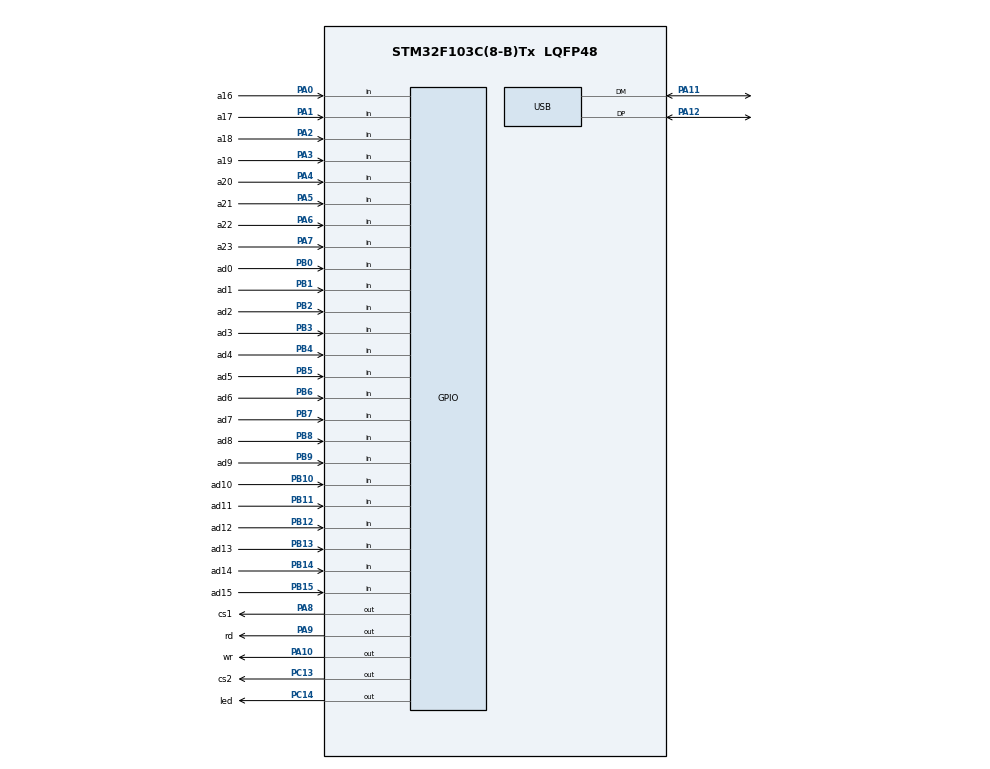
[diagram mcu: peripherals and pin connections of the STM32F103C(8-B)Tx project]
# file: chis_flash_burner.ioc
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Mcu.Family=STM32F1
Mcu.Name=STM32F103C(8-B)Tx
Mcu.Package=LQFP48
NVIC.PriorityGroup=NVIC_PRIORITYGROUP_4
NVIC.USB_LP_CAN1_RX0_IRQn=true\:0\:0\:false\:false\:true\:false\:true\:true
PA0-WKUP.GPIO_Label=a16
PA0-WKUP.GPIO_PuPd=GPIO_PULLUP
PA0-WKUP.Signal=GPIO_Input
PA1.GPIO_Label=a17
PA1.GPIO_PuPd=GPIO_PULLUP
PA1.Signal=GPIO_Input
PA10.GPIO_Label=wr
PA10.GPIO_PuPd=GPIO_PULLUP
PA10.GPIO_Speed=GPIO_SPEED_FREQ_HIGH
PA10.PinState=GPIO_PIN_SET
PA10.Signal=GPIO_Output
PA11.Mode=Device
PA11.Signal=USB_DM
PA12.Mode=Device
PA12.Signal=USB_DP
PA13.Mode=Serial_Wire
PA13.Signal=SYS_JTMS-SWDIO
PA14.Mode=Serial_Wire
PA14.Signal=SYS_JTCK-SWCLK
PA2.GPIO_Label=a18
PA2.GPIO_PuPd=GPIO_PULLUP
PA2.Signal=GPIO_Input
PA3.GPIO_Label=a19
PA3.GPIO_PuPd=GPIO_PULLUP
PA3.Signal=GPIO_Input
PA4.GPIO_Label=a20
PA4.GPIO_PuPd=GPIO_PULLUP
PA4.Signal=GPIO_Input
PA5.GPIO_Label=a21
PA5.GPIO_PuPd=GPIO_PULLUP
PA5.Signal=GPIO_Input
PA6.GPIO_Label=a22
PA6.GPIO_PuPd=GPIO_PULLUP
PA6.Signal=GPIO_Input
PA7.GPIO_Label=a23
PA7.GPIO_PuPd=GPIO_PULLUP
PA7.Signal=GPIO_Input
PA8.GPIO_Label=cs1
PA8.GPIO_ModeDefaultOutputPP=GPIO_MODE_OUTPUT_PP
PA8.GPIO_PuPd=GPIO_PULLUP
PA8.GPIO_Speed=GPIO_SPEED_FREQ_HIGH
PA8.PinState=GPIO_PIN_SET
PA8.Signal=GPIO_Output
PA9.GPIO_Label=rd
PA9.GPIO_PuPd=GPIO_PULLUP
PA9.GPIO_Speed=GPIO_SPEED_FREQ_HIGH
PA9.PinState=GPIO_PIN_SET
PA9.Signal=GPIO_Output
PB0.GPIO_Label=ad0
PB0.GPIO_PuPd=GPIO_PULLUP
PB0.Signal=GPIO_Input
PB1.GPIO_Label=ad1
PB1.GPIO_PuPd=GPIO_PULLUP
PB1.Signal=GPIO_Input
PB10.GPIO_Label=ad10
PB10.GPIO_PuPd=GPIO_PULLUP
PB10.Signal=GPIO_Input
PB11.GPIO_Label=ad11
PB11.GPIO_PuPd=GPIO_PULLUP
PB11.Signal=GPIO_Input
PB12.GPIO_Label=ad12
PB12.GPIO_PuPd=GPIO_PULLUP
PB12.Signal=GPIO_Input
PB13.GPIO_Label=ad13
PB13.GPIO_PuPd=GPIO_PULLUP
PB13.Signal=GPIO_Input
PB14.GPIO_Label=ad14
PB14.GPIO_PuPd=GPIO_PULLUP
PB14.Signal=GPIO_Input
PB15.GPIO_Label=ad15
PB15.GPIO_PuPd=GPIO_PULLUP
PB15.Signal=GPIO_Input
PB2.GPIO_Label=ad2
PB2.GPIO_PuPd=GPIO_PULLUP
PB2.Signal=GPIO_Input
PB3.GPIO_Label=ad3
PB3.GPIO_PuPd=GPIO_PULLUP
PB3.Signal=GPIO_Input
PB4.GPIO_Label=ad4
PB4.GPIO_PuPd=GPIO_PULLUP
PB4.Signal=GPIO_Input
PB5.GPIO_Label=ad5
PB5.GPIO_PuPd=GPIO_PULLUP
PB5.Signal=GPIO_Input
PB6.GPIO_Label=ad6
PB6.GPIO_PuPd=GPIO_PULLUP
PB6.Signal=GPIO_Input
PB7.GPIO_Label=ad7
PB7.GPIO_PuPd=GPIO_PULLUP
PB7.Signal=GPIO_Input
PB8.GPIO_Label=ad8
PB8.GPIO_PuPd=GPIO_PULLUP
PB8.Signal=GPIO_Input
PB9.GPIO_Label=ad9
PB9.GPIO_PuPd=GPIO_PULLUP
PB9.Signal=GPIO_Input
PC13-TAMPER-RTC.GPIO_Label=cs2
PC13-TAMPER-RTC.GPIO_PuPd=GPIO_PULLUP
PC13-TAMPER-RTC.GPIO_Speed=GPIO_SPEED_FREQ_HIGH
PC13-TAMPER-RTC.PinState=GPIO_PIN_SET
PC13-TAMPER-RTC.Signal=GPIO_Output
PC14-OSC32_IN.GPIO_Label=led
PC14-OSC32_IN.GPIO_ModeDefaultOutputPP=GPIO_MODE_OUTPUT_PP
PC14-OSC32_IN.GPIO_PuPd=GPIO_PULLUP
PC14-OSC32_IN.GPIO_Speed=GPIO_SPEED_FREQ_HIGH
PC14-OSC32_IN.PinState=GPIO_PIN_SET
PC14-OSC32_IN.Signal=GPIO_Output
PD0-OSC_IN.Mode=HSE-External-Oscillator
PD0-OSC_IN.Signal=RCC_OSC_IN
PD1-OSC_OUT.Mode=HSE-External-Oscillator
PD1-OSC_OUT.Signal=RCC_OSC_OUT
ProjectManager.HeapSize=0x200
ProjectManager.StackSize=0x400
ProjectManager.TargetToolchain=STM32CubeIDE
RCC.AHBFreq_Value=72000000
RCC.APB1CLKDivider=RCC_HCLK_DIV2
RCC.APB1Freq_Value=36000000
RCC.APB1TimFreq_Value=72000000
RCC.APB2Freq_Value=72000000
RCC.APB2TimFreq_Value=72000000
RCC.HCLKFreq_Value=72000000
RCC.PLLMUL=RCC_PLL_MUL9
RCC.PLLSourceVirtual=RCC_PLLSOURCE_HSE
RCC.SYSCLKFreq_VALUE=72000000
RCC.SYSCLKSource=RCC_SYSCLKSOURCE_PLLCLK
RCC.USBFreq_Value=48000000
RCC.USBPrescaler=RCC_USBCLKSOURCE_PLL_DIV1_5
USB_DEVICE.CLASS_NAME_FS=CDC
USB_DEVICE.MANUFACTURER_STRING=CNY Industry
USB_DEVICE.PID_CDC_FS=0x0721
USB_DEVICE.PRODUCT_STRING_CDC_FS=JKL GBA Burner
USB_DEVICE.VID=0x0483
USB_DEVICE.VirtualMode=Cdc
USB_DEVICE.VirtualModeFS=Cdc_FS
VP_USB_DEVICE_VS_USB_DEVICE_CDC_FS.Mode=CDC_FS
board=custom

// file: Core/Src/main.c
/* USER CODE BEGIN Header */
/**
 ******************************************************************************
 * @file           : main.c
 * @brief          : Main program body
 ******************************************************************************
 * @attention
 *
 * Copyright (c) 2024 STMicroelectronics.
 * All rights reserved.
 *
 * This software is licensed under terms that can be found in the LICENSE file
 * in the root directory of this software component.
 * If no LICENSE file comes with this software, it is provided AS-IS.
 *
 ******************************************************************************
 */
/* USER CODE END Header */
#include "main.h"
#include "usb_device.h"

/* USER CODE BEGIN Includes */
#include "cart_adapter.h"
#include "jkl_flash_layout.h"
#include "uart.h"
/* USER CODE END Includes */

static void SystemClock_Config(void);
static void MX_GPIO_Init(void);

/* USER CODE BEGIN 0 */
/* After a reset (e.g. coming from the bootloader) boards with a fixed D+ pull-up
 * need a nudge so the host sees the device again. */
static void usb_reenumerate(void)
{
    __HAL_RCC_GPIOA_CLK_ENABLE();
    GPIO_InitTypeDef gpio = {0};
    gpio.Pin = GPIO_PIN_12;
    gpio.Mode = GPIO_MODE_OUTPUT_PP;
    gpio.Speed = GPIO_SPEED_FREQ_LOW;
    HAL_GPIO_WritePin(GPIOA, GPIO_PIN_12, GPIO_PIN_RESET);
    HAL_GPIO_Init(GPIOA, &gpio);
    HAL_Delay(20);
    HAL_GPIO_DeInit(GPIOA, GPIO_PIN_12);
}

/* USER CODE END 0 */

int main(void)
{
    /* USER CODE BEGIN 1 */

    /* The JKL bootloader sits below us: use our own vector table. */
    SCB->VTOR = JKL_APP_BASE;
    /* USER CODE END 1 */

    /* MCU Configuration--------------------------------------------------------*/

    /* Reset of all peripherals, Initializes the Flash interface and the Systick. */
    HAL_Init();

    /* Configure the system clock */
    SystemClock_Config();

    /* Initialize all configured peripherals */
    MX_GPIO_Init();
    usb_reenumerate();
    MX_USB_DEVICE_Init();

    /* Infinite loop */
    while (1) {

        /* USER CODE BEGIN 3 */

        uart_cmdHandler();
        __WFI();  // Wait for interrupt
    }
    /* USER CODE END 3 */
}

static void SystemClock_Config(void)
{
    RCC_OscInitTypeDef RCC_OscInitStruct = {0};
    RCC_ClkInitTypeDef RCC_ClkInitStruct = {0};
    RCC_PeriphCLKInitTypeDef PeriphClkInit = {0};

    /** Initializes the RCC Oscillators according to the specified parameters
     * in the RCC_OscInitTypeDef structure.
     */
    RCC_OscInitStruct.OscillatorType = RCC_OSCILLATORTYPE_HSE;
    RCC_OscInitStruct.HSEState = RCC_HSE_ON;
    RCC_OscInitStruct.HSEPredivValue = RCC_HSE_PREDIV_DIV1;
    RCC_OscInitStruct.HSIState = RCC_HSI_ON;
    RCC_OscInitStruct.PLL.PLLState = RCC_PLL_ON;
    RCC_OscInitStruct.PLL.PLLSource = RCC_PLLSOURCE_HSE;
    RCC_OscInitStruct.PLL.PLLMUL = RCC_PLL_MUL9;
    if (HAL_RCC_OscConfig(&RCC_OscInitStruct) != HAL_OK) {
        Error_Handler();
    }

    /** Initializes the CPU, AHB and APB buses clocks
     */
    RCC_ClkInitStruct.ClockType = RCC_CLOCKTYPE_HCLK | RCC_CLOCKTYPE_SYSCLK | RCC_CLOCKTYPE_PCLK1 |
                                  RCC_CLOCKTYPE_PCLK2;
    RCC_ClkInitStruct.SYSCLKSource = RCC_SYSCLKSOURCE_PLLCLK;
    RCC_ClkInitStruct.AHBCLKDivider = RCC_SYSCLK_DIV1;
    RCC_ClkInitStruct.APB1CLKDivider = RCC_HCLK_DIV2;
    RCC_ClkInitStruct.APB2CLKDivider = RCC_HCLK_DIV1;

    if (HAL_RCC_ClockConfig(&RCC_ClkInitStruct, FLASH_LATENCY_2) != HAL_OK) {
        Error_Handler();
    }
    PeriphClkInit.PeriphClockSelection = RCC_PERIPHCLK_USB;
    PeriphClkInit.UsbClockSelection = RCC_USBCLKSOURCE_PLL_DIV1_5;
    if (HAL_RCCEx_PeriphCLKConfig(&PeriphClkInit) != HAL_OK) {
        Error_Handler();
    }
}

static void MX_GPIO_Init(void)
{
    GPIO_InitTypeDef GPIO_InitStruct = {0};

    /* GPIO Ports Clock Enable */
    __HAL_RCC_GPIOC_CLK_ENABLE();
    __HAL_RCC_GPIOD_CLK_ENABLE();
    __HAL_RCC_GPIOA_CLK_ENABLE();
    __HAL_RCC_GPIOB_CLK_ENABLE();

    /*Configure GPIO pin Output Level */
    HAL_GPIO_WritePin(GPIOC, cs2_Pin | led_Pin, GPIO_PIN_SET);

    /*Configure GPIO pin Output Level */
    HAL_GPIO_WritePin(GPIOA, cs1_Pin | rd_Pin | wr_Pin, GPIO_PIN_SET);

    /*Configure GPIO pins : cs2_Pin led_Pin */
    GPIO_InitStruct.Pin = cs2_Pin | led_Pin;
    GPIO_InitStruct.Mode = GPIO_MODE_OUTPUT_PP;
    GPIO_InitStruct.Pull = GPIO_PULLUP;
    GPIO_InitStruct.Speed = GPIO_SPEED_FREQ_HIGH;
    HAL_GPIO_Init(GPIOC, &GPIO_InitStruct);

    /*Configure GPIO pins : a16_Pin a17_Pin a18_Pin a19_Pin
                           a20_Pin a21_Pin a22_Pin a23_Pin */
    GPIO_InitStruct.Pin = a16_Pin | a17_Pin | a18_Pin | a19_Pin | a20_Pin | a21_Pin | a22_Pin |
                          a23_Pin;
    GPIO_InitStruct.Mode = GPIO_MODE_INPUT;
    GPIO_InitStruct.Pull = GPIO_PULLUP;
    HAL_GPIO_Init(GPIOA, &GPIO_InitStruct);

    /*Configure GPIO pins : ad0_Pin ad1_Pin ad2_Pin ad10_Pin
                           ad11_Pin ad12_Pin ad13_Pin ad14_Pin
                           ad15_Pin ad3_Pin ad4_Pin ad5_Pin
                           ad6_Pin ad7_Pin ad8_Pin ad9_Pin */
    GPIO_InitStruct.Pin = ad0_Pin | ad1_Pin | ad2_Pin | ad10_Pin | ad11_Pin | ad12_Pin | ad13_Pin |
                          ad14_Pin | ad15_Pin | ad3_Pin | ad4_Pin | ad5_Pin | ad6_Pin | ad7_Pin |
                          ad8_Pin | ad9_Pin;
    GPIO_InitStruct.Mode = GPIO_MODE_INPUT;
    GPIO_InitStruct.Pull = GPIO_PULLUP;
    HAL_GPIO_Init(GPIOB, &GPIO_InitStruct);

    /*Configure GPIO pins : cs1_Pin rd_Pin wr_Pin */
    GPIO_InitStruct.Pin = cs1_Pin | rd_Pin | wr_Pin;
    GPIO_InitStruct.Mode = GPIO_MODE_OUTPUT_PP;
    GPIO_InitStruct.Pull = GPIO_PULLUP;
    GPIO_InitStruct.Speed = GPIO_SPEED_FREQ_HIGH;
    HAL_GPIO_Init(GPIOA, &GPIO_InitStruct);

}

void Error_Handler(void)
{
    /* USER CODE BEGIN Error_Handler_Debug */
    /* User can add his own implementation to report the HAL error return state */
    __disable_irq();
    while (1) {
        __WFI();  // Wait for interrupt
    }
    /* USER CODE END Error_Handler_Debug */
}
